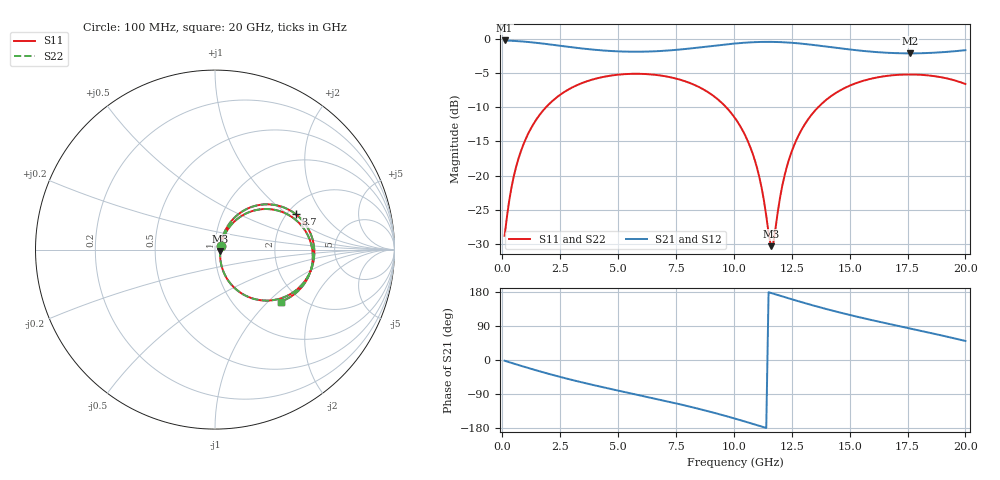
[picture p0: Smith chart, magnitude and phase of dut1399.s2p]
! Touchstone file exported from HFSS 2026.1.0
!  File:  C:/ffzhzh/LocalFiles/Ansys_Project_Files/temp_train_TSV_RDL_1399_1783351178_46376.aedt
!  Generated:  11:40:07 PM Jul  6, 2026
!  Design:  TSV_RDL
!  Project:  temp_train_TSV_RDL_1399_1783351178_46376
! Variables:
!  h_bsmrdl = 2.62um
!  h_ox = 20um
!  h_rdl = 5um
!  h_sub = 73.6um
!  h_tmrdl = 5.72um
!  h_tsv = 73.6um
!  h_via = 3um
!  l_bsmrdl = 816.52um
!  l_sub = 5421.22um
!  l_tmrdl = 608.25um
!  m_sub = 200um
!  pitch = 48.54um
!  r_tsv = 2.56um
!  s_tmrdl = 10um
!  w_bsmrdl = 20.21um
!  w_sub = 500um
!  w_tmrdl = 26.01um
!  x_tsv_center1 = 621.255um
!  x_tsv_center2 = 1457.985um
!  x_tsv_center3 = 2092.245um
!  x_tsv_center4 = 2928.975um
!  x_tsv_center5 = 3563.235um
!  x_tsv_center6 = 4399.965um
# GHz S MA R 50.000000
! Terminal data exported
! Port[1] = TM_RDL1_1_T1
! Port[2] = TM_RDL5_1_T1
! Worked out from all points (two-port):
!   200 points, 100 MHz to 20 GHz, reference 50 ohm
!   highest |S21| = -0.27 dB at 100 MHz (marker M1); lowest = -2.2 dB at 17.6 GHz (marker M2)
!   |S21| within 3 dB of the highest: start of sweep to end of sweep
!   lowest |S11| = -30.3 dB at 11.6 GHz (marker M3), VSWR 1.06, Z = 53 - j0.945 ohm
!   |S11| at or under -10 dB: start of sweep to 1.891 GHz; 9.665 GHz to 13.64 GHz (3.98 GHz wide, 34.1 % of centre)
!   |S22| runs from -30.3 to -5.1 dB; largest |S21 - S12| = 3.8e-14
!   S11 on the Smith chart (normalised r, x): 100 MHz: 1.06, +0.04; 3.7 GHz: 2.22, +1.16; 20 GHz: 1.61, -1.19
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0.1  0.0365 31.1  0.9692 -2.0  0.9692 -2.0  0.0365 31.1
! Gamma 0 0 0 0
! Port Impedance 50 0 50 0
0.5  0.0996 60.8  0.9622 -9.6  0.9622 -9.6  0.0996 60.8
1.2  0.2156 58.1  0.9419 -22.5  0.9419 -22.5  0.2156 58.1
2.2  0.3553 44.6  0.9 -39.8  0.9 -39.8  0.3553 44.6
3.5  0.4781 26.4  0.8451 -59.9  0.8451 -59.9  0.4781 26.4
3.7  0.4913 23.7  0.8381 -62.8  0.8381 -62.8  0.4913 23.7
5.3  0.5508 3.0  0.8039 -84.7  0.8039 -84.7  0.5507 3.0
6.8  0.5392 -16.0  0.8113 -104.7  0.8113 -104.7  0.5392 -16.0
8.6  0.4341 -40.2  0.865 -130.6  0.865 -130.6  0.4341 -40.2
10.1  0.256 -61.6  0.9225 -155.5  0.9225 -155.5  0.2559 -61.6
10.6  0.1793 -67.4  0.9365 -164.5  0.9365 -164.5  0.1793 -67.4
11  0.1143 -68.9  0.9437 -171.9  0.9437 -171.9  0.1142 -68.9
11.3  0.06587 -62.5  0.9464 -177.4  0.9464 -177.4  0.06582 -62.5
11.6  0.03065 -16.9  0.9465 177.0  0.9465 177.0  0.0306 -16.9
11.7  0.032 13.6  0.946 175.1  0.946 175.1  0.03196 13.7
12  0.06998 52.4  0.9427 169.5  0.9427 169.5  0.06999 52.4
12.4  0.1343 57.7  0.9346 162.1  0.9346 162.1  0.1343 57.7
13.4  0.2844 47.4  0.9003 144.4  0.9003 144.4  0.2844 47.4
14.9  0.4455 26.5  0.837 120.4  0.837 120.4  0.4456 26.5
16.7  0.5369 3.2  0.787 95.2  0.787 95.2  0.5369 3.2
17.6  0.5476 -7.9  0.7803 83.3  0.7803 83.3  0.5476 -8.0
20  0.4665 -38.3  0.8233 50.2  0.8233 50.2  0.4664 -38.3
